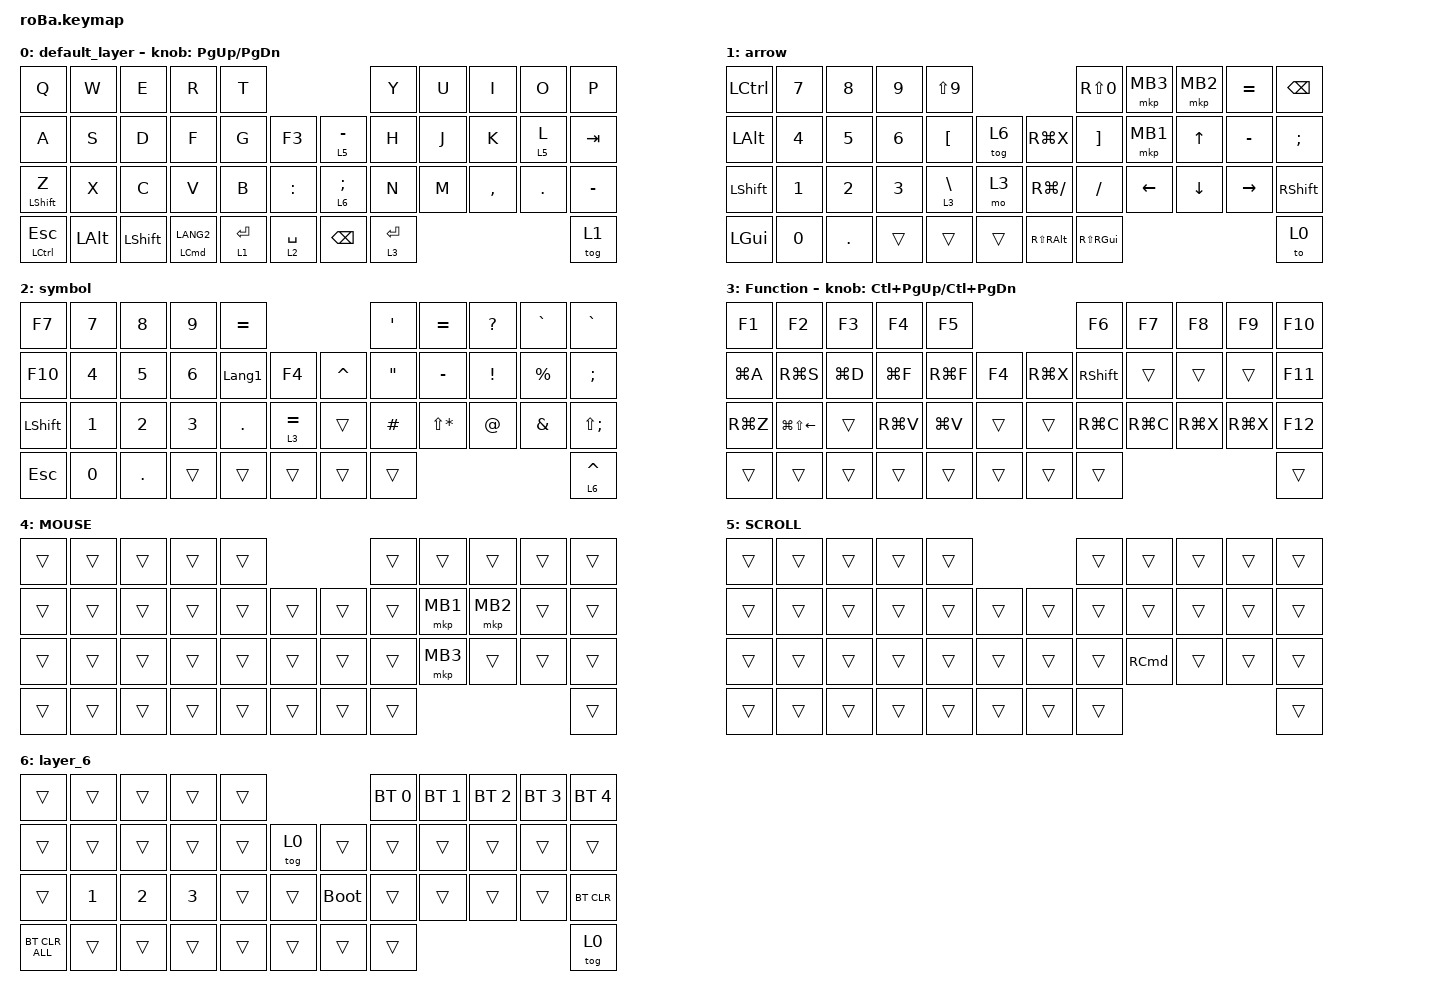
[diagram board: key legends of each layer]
#include <behaviors.dtsi>
#include <dt-bindings/zmk/bt.h>
#include <dt-bindings/zmk/keys.h>
#include <dt-bindings/zmk/pointing.h>

#define MOUSE 4
#define SCROLL 5
#define NUM 6

&mt {
    flavor = "balanced";
    quick-tap-ms = <0>;
};

/ {
    combos {
        compatible = "zmk,combos";

        tab {
            bindings = <&kp TAB>;
            key-positions = <11 12>;
        };

        shift_tab {
            bindings = <&kp LS(TAB)>;
            key-positions = <12 13>;
        };

        muhennkann {
            bindings = <&to_layer_0 INT_MUHENKAN>;
            key-positions = <11 10>;
        };

        double_quotation {
            bindings = <&kp DOUBLE_QUOTES>;
            key-positions = <20 21>;
        };

        eq {
            bindings = <&kp EQUAL>;
            key-positions = <24 25>;
        };
    };

    macros {
        to_layer_0: to_layer_0 {
            compatible = "zmk,behavior-macro-one-param";
            #binding-cells = <1>;
            bindings = <&to 0 &macro_param_1to1 &kp MACRO_PLACEHOLDER>;
            label = "TO_LAYER_0";
        };
    };

    behaviors {
        lt_to_layer_0: lt_to_layer_0 {
            compatible = "zmk,behavior-hold-tap";
            label = "LAYER_TAP_TO_0";
            bindings = <&mo>, <&to_layer_0>;

            #binding-cells = <2>;
            tapping-term-ms = <200>;
        };
    };

    keymap {
        compatible = "zmk,keymap";

        default_layer {
            bindings = <
&kp Q             &kp W         &kp E       &kp R                   &kp T                                                                           &kp Y                   &kp U  &kp I      &kp O               &kp P
&kp A             &kp S         &kp D       &kp F                   &kp G                   &kp F3                      &lt_to_layer_0 5 MINUS      &kp H                   &kp J  &kp K      &lt_to_layer_0 5 L  &kp TAB
&mt LEFT_SHIFT Z  &kp X         &kp C       &kp V                   &kp B                   &kp COLON                   &lt_to_layer_0 6 SEMICOLON  &kp N                   &kp M  &kp COMMA  &kp DOT             &kp MINUS
&mt LCTRL ESC     &kp LEFT_ALT  &kp LSHIFT  &mt LEFT_COMMAND LANG2  &lt_to_layer_0 1 ENTER  &lt_to_layer_0 2 SPACE      &kp BACKSPACE               &lt_to_layer_0 3 ENTER                                        &tog 1
            >;

            sensor-bindings = <&inc_dec_kp PAGE_UP PAGE_DOWN>;
        };

        arrow {
            bindings = <
&kp LCTRL  &kp N7  &kp N8   &kp N9  &kp LS(N9)                                             &kp RS(N0)    &mkp MB3  &mkp MB2        &kp EQUAL  &kp BACKSPACE
&kp LALT   &kp N4  &kp N5   &kp N6  &kp LBKT                    &tog 6      &kp RG(X)      &kp RBKT      &mkp MB1  &kp UP_ARROW    &kp MINUS  &kp SEMI
&kp LSHFT  &kp N1  &kp N2   &kp N3  &lt_to_layer_0 3 BACKSLASH  &mo 3       &kp RG(SLASH)  &kp FSLH      &kp LEFT  &kp DOWN_ARROW  &kp RIGHT  &kp RSHFT
&kp LGUI   &kp N0  &kp DOT  &trans  &trans                      &trans      &kp RS(RALT)   &kp RS(RGUI)                                       &to 0
            >;
        };

        symbol {
            bindings = <
&kp F7     &kp N7  &kp N8   &kp N9  &kp EQUAL                                   &kp APOS           &kp EQUAL         &kp QUESTION     &kp GRAVE      &kp GRAVE
&kp F10    &kp N4  &kp N5   &kp N6  &kp LANGUAGE_1  &kp F4           &kp CARET  &kp DOUBLE_QUOTES  &kp MINUS         &kp EXCLAMATION  &kp PERCENT    &kp SEMI
&kp LSHFT  &kp N1  &kp N2   &kp N3  &kp PERIOD      &lt 3 EQUAL      &trans     &kp HASH           &kp LS(ASTERISK)  &kp AT_SIGN      &kp AMPERSAND  &kp LS(SEMI)
&kp ESC    &kp N0  &kp DOT  &trans  &trans          &trans           &trans     &trans                                                               &lt_to_layer_0 6 CARET
            >;
        };

        Function {
            bindings = <
&kp F1     &kp F2                  &kp F3     &kp F4     &kp F5                            &kp F6           &kp F7     &kp F8     &kp F9     &kp F10
&kp LG(A)  &kp RG(S)               &kp LG(D)  &kp LG(F)  &kp RG(F)  &kp F4      &kp RG(X)  &kp RIGHT_SHIFT  &trans     &trans     &trans     &kp F11
&kp RG(Z)  &kp LG(LS(LEFT_ARROW))  &trans     &kp RG(V)  &kp LG(V)  &trans      &trans     &kp RG(C)        &kp RG(C)  &kp RG(X)  &kp RG(X)  &kp F12
&trans     &trans                  &trans     &trans     &trans     &trans      &trans     &trans                                            &trans
            >;

            sensor-bindings = <&inc_dec_kp LC(PAGE_UP) LC(PAGE_DOWN)>;
        };

        MOUSE {
            bindings = <
&trans  &trans  &trans  &trans  &trans                      &trans  &trans    &trans    &trans  &trans
&trans  &trans  &trans  &trans  &trans  &trans      &trans  &trans  &mkp MB1  &mkp MB2  &trans  &trans
&trans  &trans  &trans  &trans  &trans  &trans      &trans  &trans  &mkp MB3  &trans    &trans  &trans
&trans  &trans  &trans  &trans  &trans  &trans      &trans  &trans                              &trans
            >;
        };

        SCROLL {
            bindings = <
&trans  &trans  &trans  &trans  &trans                      &trans  &trans             &trans  &trans  &trans
&trans  &trans  &trans  &trans  &trans  &trans      &trans  &trans  &trans             &trans  &trans  &trans
&trans  &trans  &trans  &trans  &trans  &trans      &trans  &trans  &kp RIGHT_COMMAND  &trans  &trans  &trans
&trans  &trans  &trans  &trans  &trans  &trans      &trans  &trans                                     &trans
            >;
        };

        layer_6 {
            bindings = <
&trans          &trans        &trans        &trans        &trans                           &bt BT_SEL 0  &bt BT_SEL 1  &bt BT_SEL 2  &bt BT_SEL 3  &bt BT_SEL 4
&trans          &trans        &trans        &trans        &trans  &tog 0      &trans       &trans        &trans        &trans        &trans        &trans
&trans          &kp NUMBER_1  &kp NUMBER_2  &kp NUMBER_3  &trans  &trans      &bootloader  &trans        &trans        &trans        &trans        &bt BT_CLR
&bt BT_CLR_ALL  &trans        &trans        &trans        &trans  &trans      &trans       &trans                                                  &tog 0
            >;
        };
    };
};
